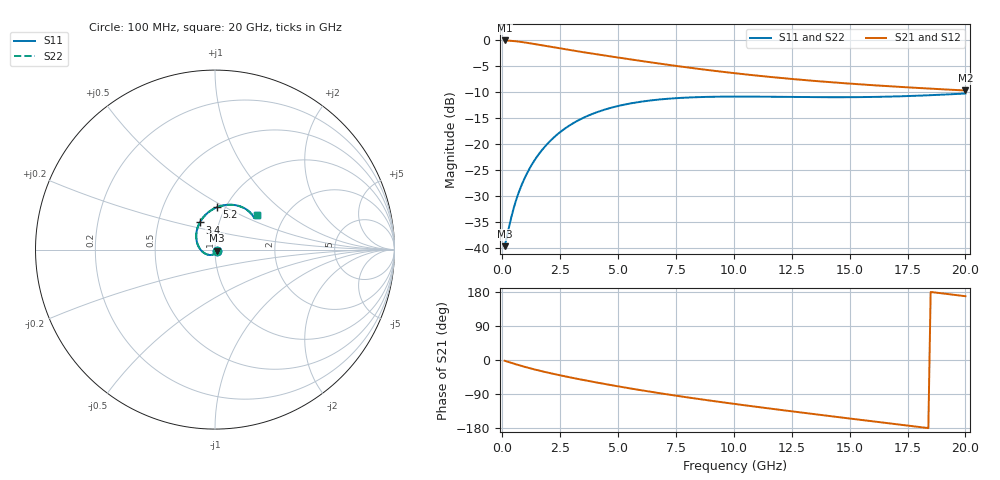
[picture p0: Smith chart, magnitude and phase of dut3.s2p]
! Touchstone file exported from HFSS 2024.1.0
!  File:  C:/UserFiles/LocalFiles/RDL_TSV_Batchsim/temp_RDL_TSV_3_1779395438.aedt
!  Generated:  04:44:25 AM May 22, 2026
!  Design:  RDL_TSV
!  Project:  temp_RDL_TSV_3_1779395438
!  Setup:  Setup1
!  Solution:  Sweep
! Variables:
!  dtsv = 13.84um
!  hbump = 3um
!  htsv = 89.66um
!  ldown = 361.25um
!  lrdl = 345.82um
!  p = 40
!  p1 = 59.86um
!  rhole = 10um
!  subl = 2467.03um
!  t = 450um
!  tdown = 4.59um
!  trdl = 3.9um
!  viad = 10um
!  wdown = 23.58um
!  wrdl = 24.41um
!  xbump = 18um
# GHz S MA R 50.000000
! Terminal data exported
! Port[1] = TM1_1_T1
! Port[2] = TM1_4_T1
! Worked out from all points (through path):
!   200 points, 100 MHz to 20 GHz, reference 50 ohm
!   highest |S21| = -0.09 dB at 100 MHz (marker M1); lowest = -9.7 dB at 20 GHz (marker M2)
!   group delay of S21, straight-line fit = 24.8 ps
!   lowest |S11| = -39.7 dB at 100 MHz (marker M3), VSWR 1.02, Z = 50.9 - j0.514 ohm
!   |S11| at or under -10 dB: start of sweep to end of sweep
!   |S22| runs from -39.7 to -10.3 dB; largest |S21 - S12| = 1e-14
!   S11 on the Smith chart (normalised r, x): 100 MHz: 1.02, -0.01; 3.4 GHz: 0.81, +0.25; 5.2 GHz: 0.91, +0.46; 20 GHz: 1.46, +0.62
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0.1  0.01032 -29.3  0.9898 -2.0  0.9898 -2.0  0.01032 -29.3
! Gamma 0 0 0 0
! Port Impedance 50 0 50 0
0.4  0.02004 -86.7  0.9809 -7.8  0.9809 -7.8  0.02005 -86.7
0.6  0.0288 -110.0  0.9711 -11.5  0.9711 -11.5  0.0288 -110.0
0.9  0.04331 -136.5  0.952 -16.9  0.952 -16.9  0.04329 -136.5
1.1  0.05363 -150.9  0.9372 -20.3  0.9372 -20.3  0.05359 -150.9
1.3  0.0643 -163.6  0.9215 -23.5  0.9215 -23.5  0.06425 -163.6
1.7  0.08626 175.2  0.8895 -29.5  0.8895 -29.5  0.08618 175.2
2.2  0.1137 154.3  0.8507 -36.5  0.8507 -36.5  0.1136 154.3
2.8  0.1451 134.7  0.808 -44.3  0.808 -44.3  0.1449 134.7
3.4  0.1735 119.2  0.769 -51.6  0.769 -51.6  0.1732 119.2
3.5  0.1778 116.9  0.7628 -52.7  0.7628 -52.7  0.1776 116.9
4.3  0.2092 101.1  0.7157 -61.9  0.7157 -61.9  0.2089 101.1
5.2  0.2366 87.2  0.6673 -71.6  0.6673 -71.6  0.2362 87.2
6.8  0.2674 69.2  0.5918 -87.6  0.5918 -87.6  0.2669 69.1
8.4  0.2813 56.9  0.5297 -102.2  0.5297 -102.2  0.2808 56.8
10.1  0.2851 48.2  0.4769 -116.5  0.4769 -116.5  0.2846 48.1
11.7  0.2837 43.1  0.4378 -129.2  0.4378 -129.2  0.2832 43.0
13.4  0.2813 40.2  0.4048 -142.3  0.4048 -142.3  0.2809 40.0
15  0.2811 39.0  0.3801 -154.4  0.3801 -154.4  0.2806 38.9
16.7  0.2848 38.9  0.3586 -167.1  0.3586 -167.1  0.2842 38.7
18.3  0.2927 39.1  0.3416 -179.0  0.3416 -179.0  0.292 39.0
20  0.3051 39.2  0.3263 168.4  0.3263 168.4  0.3044 39.0
